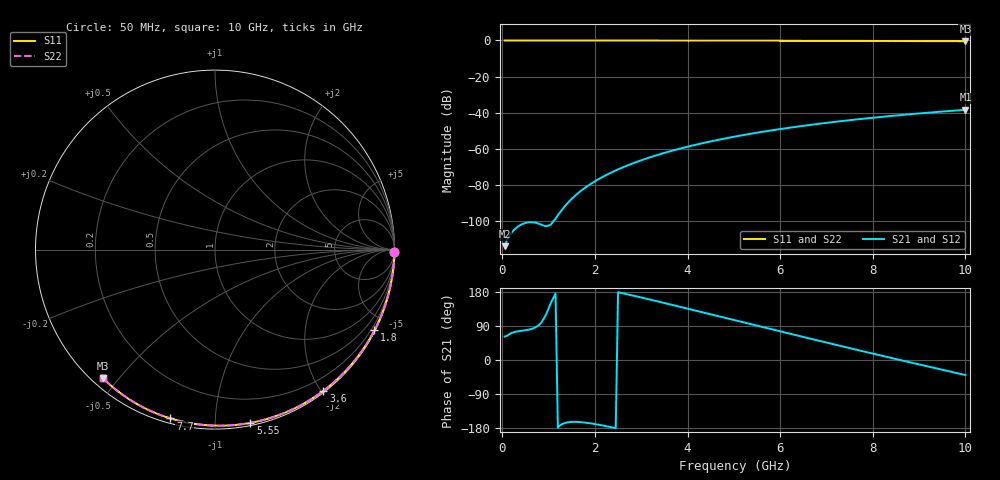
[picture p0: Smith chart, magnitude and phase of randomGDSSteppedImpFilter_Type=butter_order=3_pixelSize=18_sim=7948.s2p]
! freq	dB(S11)	phase(S11)	dB(S12)	phase(S12)
!  dB(S21)	phase(S21)	dB(S22)	phase(S22)
!S-par simulation data
#  GHz  S  DB  R 50
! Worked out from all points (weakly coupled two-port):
!   200 points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, 50 MHz to 10 GHz, reference 50 ohm
!   highest |S21| = -38.46 dB at 10 GHz (marker M1); lowest = -114.1 dB at 50 MHz (marker M2)
!   lowest |S11| = -0.4 dB at 10 GHz (marker M3), VSWR 39.08, Z = 1.54 - j22.7 ohm
!   |S11| at or under -10 dB: nowhere
!   |S22| runs from -0.4 to 0.0 dB; largest |S21 - S12| = 0
!   S11 on the Smith chart (normalised r, x): 50 MHz: open; 1.8 GHz: 0.04, -4.19; 3.6 GHz: 0.02, -2.03; 5.55 GHz: 0.02, -1.22; 7.7 GHz: 0.02, -0.77; 10 GHz: 0.03, -0.45
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0.05  -0.00 -0.8  -114.08 61.8  -114.08 61.8  -0.00 -0.8
0.9  -0.02 -13.6  -102.73 110.0  -102.73 110.0  -0.02 -13.6
1.75  -0.03 -26.1  -82.39 -164.7  -82.39 -164.7  -0.03 -26.1
1.8  -0.03 -26.9  -81.46 -165.4  -81.46 -165.4  -0.03 -26.9
1.85  -0.04 -27.6  -80.57 -166.2  -80.57 -166.2  -0.04 -27.6
1.9  -0.04 -28.3  -79.72 -167.1  -79.72 -167.1  -0.04 -28.3
2.05  -0.04 -30.5  -77.35 -170.1  -77.35 -170.1  -0.04 -30.5
2.25  -0.04 -33.4  -74.55 -174.8  -74.55 -174.8  -0.04 -33.4
2.45  -0.05 -36.3  -72.08 -179.8  -72.08 -179.8  -0.05 -36.3
2.65  -0.05 -39.2  -69.86 174.8  -69.86 174.8  -0.05 -39.2
3  -0.06 -44.1  -66.45 165.0  -66.45 165.0  -0.06 -44.1
3.4  -0.07 -49.7  -63.11 153.4  -63.11 153.4  -0.07 -49.7
3.6  -0.07 -52.5  -61.62 147.5  -61.62 147.5  -0.07 -52.5
4.3  -0.09 -62.1  -57.11 126.6  -57.11 126.6  -0.09 -62.1
5.05  -0.11 -72.0  -53.18 104.0  -53.18 104.0  -0.11 -72.0
5.55  -0.13 -78.5  -50.95 89.1  -50.95 89.1  -0.13 -78.5
6.1  -0.15 -85.4  -48.76 72.6  -48.76 72.6  -0.15 -85.4
6.7  -0.18 -92.8  -46.66 54.8  -46.66 54.8  -0.18 -92.8
7.7  -0.24 -104.8  -43.65 25.5  -43.65 25.5  -0.24 -104.8
8.35  -0.29 -112.3  -41.98 6.8  -41.98 6.8  -0.29 -112.3
9.15  -0.36 -121.5  -40.16 -15.9  -40.16 -15.9  -0.36 -121.5
10  -0.44 -131.1  -38.46 -39.6  -38.46 -39.6  -0.44 -131.1
